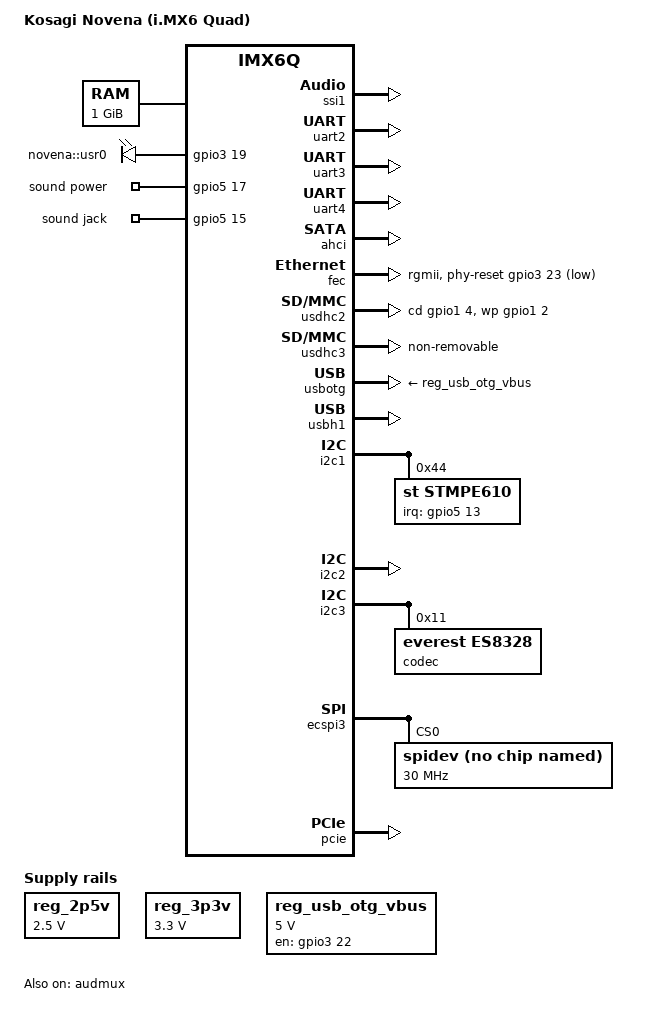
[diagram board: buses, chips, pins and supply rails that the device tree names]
/*
 * Copyright 2012 Freescale Semiconductor, Inc.
 * Copyright 2011 Linaro Ltd.
 *
 * The code contained herein is licensed under the GNU General Public
 * License. You may obtain a copy of the GNU General Public License
 * Version 2 or later at the following locations:
 *
 * http://www.opensource.org/licenses/gpl-license.html
 * http://www.gnu.org/copyleft/gpl.html
 */

/dts-v1/;
#include "imx6q.dtsi"

/ {
	model = "Kosagi Novena (i.MX6 Quad)";
	compatible = "fsl,imx6q-novena", "fsl,imx6q";
        chosen {
                bootargs = "console=ttymxc1,115200 earlyprintk root=/dev/mmcblk0p2 rootwait rootfstype=ext4";
        };

	memory {
		reg = <0x10000000 0x40000000>;
	};

	regulators {
		compatible = "simple-bus";

		reg_2p5v: 2p5v {
			compatible = "regulator-fixed";
			regulator-name = "2P5V";
			regulator-min-microvolt = <2500000>;
			regulator-max-microvolt = <2500000>;
			regulator-always-on;
		};

		reg_3p3v: 3p3v {
			compatible = "regulator-fixed";
			regulator-name = "3P3V";
			regulator-min-microvolt = <3300000>;
			regulator-max-microvolt = <3300000>;
			regulator-always-on;
		};

		reg_usb_otg_vbus: usb_otg_vbus {
			compatible = "regulator-fixed";
			regulator-name = "usb_otg_vbus";
			regulator-min-microvolt = <5000000>;
			regulator-max-microvolt = <5000000>;
			gpio = <&gpio3 22 0>;
			enable-active-high;
		};
	};

	leds {
		compatible = "gpio-leds";
		heartbeat {
			label = "novena::usr0";
			gpios = <&gpio3 19 0>;
			linux,default-trigger = "heartbeat";
		};
	};

	sound {
		compatible = "fsl,imx-audio-novena";
		model = "imx-audio-novena";
		clocks = <&clks 169>, <&clks 57>, <&clks 173>;
		clock-names = "cko1", "cko1_sel", "pll4_audio";
		ssi-controller = <&ssi1>;
		audio-codec = <&codec>;
		power-gpio = <&gpio5 17 0>;
		jack-gpio = <&gpio5 15 0>;
		audio-routing =
			"MIC_IN", "Mic Jack",
			"Mic Jack", "Mic Bias",
			"Headphone Jack", "HP_OUT",
			"Ext Spk", "SPK_OUT";
		mux-int-port = <1>;
		mux-ext-port = <3>;
	};
};

&ssi1 {
	fsl,mode = "i2s-slave";
	status = "okay";
};

&uart2 {
	status = "okay";
	pinctrl-names = "default";
	pinctrl-0 = <&pinctrl_uart2_1>;
};

&uart3 {
	status = "okay";
	pinctrl-names = "default";
	pinctrl-0 = <&pinctrl_uart3_1>;
};

&uart4 {
	status = "okay";
	pinctrl-names = "default";
	pinctrl-0 = <&pinctrl_uart4_1>;
};

&ahci {
	status = "okay";
};

&iomuxc {
	pinctrl-names = "default";
	pinctrl-0 = <&pinctrl_hog>;

	hog {
		pinctrl_hog: hoggrp {
			fsl,pins = <
				MX6Q_PAD_SD3_DAT5__GPIO7_IO00 0x80000000
				MX6Q_PAD_SD3_DAT4__GPIO7_IO01 0x1f0b0

				/* uSDHC2 */
				MX6Q_PAD_GPIO_2__GPIO1_IO02   0x80000000 /* Write protect */
				MX6Q_PAD_GPIO_4__GPIO1_IO04   0x80000000 /* Card detect */

				/* Ethernet reset */
				MX6Q_PAD_EIM_D23__GPIO3_IO23  0x80000000

				/* Headphone plug */
				MX6Q_PAD_DISP0_DAT21__GPIO5_IO15 0x80000000
				MX6Q_PAD_GPIO_0__CCM_CLKO1       0x80000000

				/* Touchscreen interrupt */
				MX6Q_PAD_DISP0_DAT19__GPIO5_IO13 0x80000000

				/* GPIO LED */
				MX6Q_PAD_EIM_D19__GPIO3_IO19  0x80000000

				/* PCI express */
				MX6Q_PAD_EIM_D22__GPIO3_IO22  0x80000000 /* Wakeup */
				MX6Q_PAD_EIM_D29__GPIO3_IO29  0x80000000 /* Reset */
				MX6Q_PAD_GPIO_17__GPIO7_IO12  0x80000000 /* Power On */
				MX6Q_PAD_EIM_A22__GPIO2_IO16  0x80000000 /* Wifi kill */

				/* FPGA power */
				MX6Q_PAD_SD1_DAT1__GPIO1_IO17 0x80000000
			>;
		};
	};
};

&fec {
	pinctrl-names = "default";
        pinctrl-0 = <&pinctrl_enet_1>;
	phy-mode = "rgmii";
        phy-reset-gpios = <&gpio3 23 0>;
	mac-address = [00 0E C6 87 72 01];
	status = "okay";
};

&usdhc2 {
	pinctrl-names = "default";
	pinctrl-0 = <&pinctrl_usdhc2_1>;
	cd-gpios = <&gpio1 4 0>;
	wp-gpios = <&gpio1 2 0>;
	status = "okay";
};

&usdhc3 {
	pinctrl-names = "default";
	pinctrl-0 = <&pinctrl_usdhc3_2>;
	non-removable;
	status = "okay";
};

&usbotg {
	vbus-supply = <&reg_usb_otg_vbus>;
	pinctrl-names = "default";
	pinctrl-0 = <&pinctrl_usbotg_2>;
	disable-over-current;
	status = "okay";
};

&usbh1 {
	status = "okay";
};

&audmux {
	status = "okay";
	pinctrl-names = "default";
	pinctrl-0 = <&pinctrl_audmux_2>;
};

&i2c1 {
	pinctrl-names = "default";
	pinctrl-0 = <&pinctrl_i2c1_1>;
	status = "okay";

	stmpe610@0 {
		compatible = "st,stmpe610";
		#address-cells = <1>;
		#size-cells = <0>;
		reg = <0x44>;
		irq-over-gpio;
		irq-gpios = <&gpio5 13 0>;
		id = <0>;
		blocks = <0x5>;
		irq-trigger = <0x1>;

		stmpe_adc {
			compatible = "st,stmpe-adc";
		};
		stmpe_touchscreen {
			compatible = "st,stmpe-ts";
			ts,sample-time = <4>;
			ts,mod-12b = <1>;
			ts,ref-sel = <0>;
			ts,adc-freq = <1>;
			ts,ave-ctrl = <1>;
			ts,touch-det-delay = <2>;
			ts,settling = <2>;
			ts,fraction-z = <7>;
			ts,i-drive = <1>;
		};
/*
		stmpe_gpio {
			compatible = "st,stmpe-gpio";
			gpio-controller;
			#gpio-cells = <2>;
		};
*/
	};
};

&i2c2 {
	pinctrl-names = "default";
	pinctrl-0 = <&pinctrl_i2c2_1>;
	status = "okay";
};

&i2c3 {
	pinctrl-names = "default";
	pinctrl-0 = <&pinctrl_i2c3_1>;
	status = "okay";

	codec: es8328@11 {
		compatible = "everest,es8328";
		reg = <0x11>;
//		VDDA-supply = <&reg_2p5v>;
//		VDDIO-supply = <&reg_3p3v>;
	};
};

&ecspi3 {
	pinctrl-names = "default";
	pinctrl-0 = <&pinctrl_ecspi3_1>;
	fsl,spi-num-chipselects = <3>;
	status = "okay";

	spidev@0x00 {
		compatible = "spidev";
		spi-max-frequency = <30000000>;
		reg = <0>;
	};
};

&pcie {
	power-enable = <&gpio7 12 0>;
	pcie-reset = <&gpio3 29 0>;
	wake-up = <&gpio3 22 0>;
	disable-endpoint = <&gpio2 16 0>;
	status = "okay";
};

/*
&caam {
	compatible = "fsl,sec-v4.0";
	#address-cells = <1>;
	#size-cells = <1>;
	reg = <0x02100000 0x40000>;
	ranges = <0 0x02100000 0x40000>;

	sec_jr0: jr@1000 {
		compatible = "fsl,sec-v4.0-job-ring";
		reg = <0x100000 0x1000>;
		interrupts = <0 105 0x04>;
	};

	sec_jr1: jr@2000 {
		compatible = "fsl,sec-v4.0-job-ring";
		reg = <0x200000 0x1000>;
		interrupts = <0 106 0x04>;
	};
};
*/

